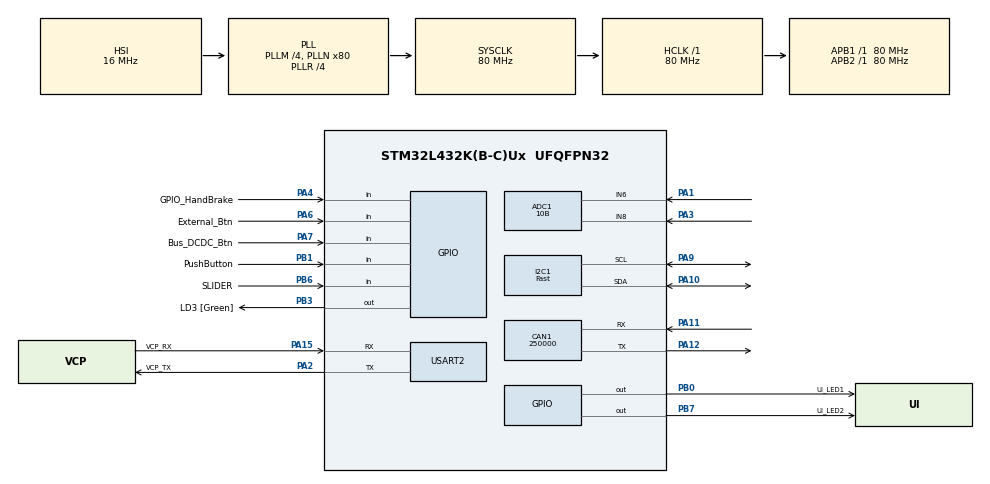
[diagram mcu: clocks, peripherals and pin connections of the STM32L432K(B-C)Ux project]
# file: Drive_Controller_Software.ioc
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ADC1.ClockPrescaler=ADC_CLOCK_ASYNC_DIV64
ADC1.ContinuousConvMode=DISABLE
ADC1.DiscontinuousConvMode=ENABLE
ADC1.EnableInjectedConversion=ENABLE
ADC1.EnableRegularConversion=DISABLE
ADC1.InjMonitoredBy-2\#ChannelInjectedConversion=__NULL
ADC1.InjMonitoredBy-3\#ChannelInjectedConversion=__NULL
ADC1.InjNumberOfConversion=2
ADC1.InjectedChannel-2\#ChannelInjectedConversion=ADC_CHANNEL_6
ADC1.InjectedChannel-3\#ChannelInjectedConversion=ADC_CHANNEL_8
ADC1.InjectedOffsetNumber-2\#ChannelInjectedConversion=ADC_OFFSET_NONE
ADC1.InjectedOffsetNumber-3\#ChannelInjectedConversion=ADC_OFFSET_NONE
ADC1.InjectedRank-2\#ChannelInjectedConversion=1
ADC1.InjectedRank-3\#ChannelInjectedConversion=2
ADC1.InjectedSamplingTime-2\#ChannelInjectedConversion=ADC_SAMPLETIME_2CYCLES_5
ADC1.InjectedSamplingTime-3\#ChannelInjectedConversion=ADC_SAMPLETIME_2CYCLES_5
ADC1.NbrOfDiscConversion=2
ADC1.Rank1_Channel=ADC_CHANNEL_6
ADC1.Rank2_Channel=ADC_CHANNEL_8
ADC1.Resolution=ADC_RESOLUTION_10B
ADC1.master=1
CAN1.BS1=CAN_BS1_11TQ
CAN1.BS2=CAN_BS2_8TQ
CAN1.CalculateBaudRate=250000
CAN1.CalculateTimeBit=4000
CAN1.CalculateTimeQuantum=200.0
Dma.ADC1.0.Direction=DMA_PERIPH_TO_MEMORY
Dma.ADC1.0.Instance=DMA1_Channel1
Dma.ADC1.0.MemDataAlignment=DMA_MDATAALIGN_HALFWORD
Dma.ADC1.0.MemInc=DMA_MINC_ENABLE
Dma.ADC1.0.Mode=DMA_CIRCULAR
Dma.ADC1.0.PeriphDataAlignment=DMA_PDATAALIGN_HALFWORD
Dma.ADC1.0.PeriphInc=DMA_PINC_DISABLE
Dma.ADC1.0.Priority=DMA_PRIORITY_LOW
Dma.Request0=ADC1
I2C1.I2C_Rise_Time=0
I2C1.I2C_Speed_Mode=I2C_Fast
I2C1.Timing=0x00712989
Mcu.Family=STM32L4
Mcu.Name=STM32L432K(B-C)Ux
Mcu.Package=UFQFPN32
NVIC.ADC1_IRQn=true\:2\:0\:true\:false\:true\:true\:true\:true
NVIC.CAN1_RX0_IRQn=true\:1\:0\:true\:false\:true\:true\:true\:true
NVIC.CAN1_RX1_IRQn=true\:1\:0\:true\:false\:true\:true\:true\:true
NVIC.CAN1_TX_IRQn=true\:1\:0\:true\:false\:true\:true\:true\:true
NVIC.DMA1_Channel1_IRQn=true\:0\:0\:false\:false\:true\:false\:true\:true
NVIC.PriorityGroup=NVIC_PRIORITYGROUP_4
NVIC.TIM2_IRQn=true\:1\:0\:true\:false\:true\:true\:true\:true
PA1.Signal=ADCx_IN6
PA10.Mode=I2C
PA10.Signal=I2C1_SDA
PA11.Mode=CAN_Activate
PA11.Signal=CAN1_RX
PA12.Mode=CAN_Activate
PA12.Signal=CAN1_TX
PA13\ (JTMS-SWDIO).GPIO_Label=SWDIO
PA13\ (JTMS-SWDIO).Mode=Serial_Wire
PA13\ (JTMS-SWDIO).Signal=SYS_JTMS-SWDIO
PA14\ (JTCK-SWCLK).GPIO_Label=SWCLK
PA14\ (JTCK-SWCLK).Mode=Serial_Wire
PA14\ (JTCK-SWCLK).Signal=SYS_JTCK-SWCLK
PA15\ (JTDI).GPIO_Label=VCP_RX
PA15\ (JTDI).Mode=Asynchronous
PA15\ (JTDI).Signal=USART2_RX
PA2.GPIO_Label=VCP_TX
PA2.Mode=Asynchronous
PA2.Signal=USART2_TX
PA3.Signal=ADCx_IN8
PA4.GPIO_Label=GPIO_HandBrake
PA4.GPIO_PuPd=GPIO_PULLUP
PA4.Signal=GPIO_Input
PA5.Signal=ADCx_IN10
PA6.GPIO_Label=External_Btn
PA6.Signal=GPIO_Input
PA7.GPIO_Label=Bus_DCDC_Btn
PA7.Signal=GPIO_Input
PA9.Mode=I2C
PA9.Signal=I2C1_SCL
PB0.GPIO_Label=UI_LED1
PB0.GPIO_ModeDefaultOutputPP=GPIO_MODE_OUTPUT_OD
PB0.GPIO_PuPd=GPIO_NOPULL
PB0.Signal=GPIO_Output
PB1.GPIO_Label=PushButton
PB1.Signal=GPIO_Input
PB3\ (JTDO-TRACESWO).GPIO_Label=LD3 [Green]
PB3\ (JTDO-TRACESWO).Signal=GPIO_Output
PB6.GPIO_Label=SLIDER
PB6.Signal=GPIO_Input
PB7.GPIO_Label=UI_LED2
PB7.GPIO_ModeDefaultOutputPP=GPIO_MODE_OUTPUT_OD
PB7.GPIO_PuPd=GPIO_NOPULL
PB7.Signal=GPIO_Output
PC14-OSC32_IN\ (PC14).Mode=LSE-External-Oscillator
PC14-OSC32_IN\ (PC14).Signal=RCC_OSC32_IN
PC15-OSC32_OUT\ (PC15).Mode=LSE-External-Oscillator
PC15-OSC32_OUT\ (PC15).Signal=RCC_OSC32_OUT
ProjectManager.HeapSize=0x200
ProjectManager.StackSize=0x400
ProjectManager.TargetToolchain=STM32CubeIDE
RCC.ADCFreq_Value=32000000
RCC.AHBFreq_Value=80000000
RCC.APB1Freq_Value=80000000
RCC.APB1TimFreq_Value=80000000
RCC.APB2Freq_Value=80000000
RCC.APB2TimFreq_Value=80000000
RCC.CortexFreq_Value=80000000
RCC.HCLKFreq_Value=80000000
RCC.HSE_VALUE=8000000
RCC.HSI16_VALUE=16000000
RCC.HSI48_VALUE=48000000
RCC.HSI_VALUE=16000000
RCC.I2C1CLockSelection=RCC_I2C1CLKSOURCE_SYSCLK
RCC.MSI_VALUE=4000000
RCC.PLLM=4
RCC.PLLMUL=RCC_PLLMUL_4
RCC.PLLN=80
RCC.PLLR=RCC_PLLR_DIV4
RCC.PLLSAI1N=16
RCC.PLLSourceVirtual=RCC_PLLSOURCE_HSI
RCC.SYSCLKFreq_VALUE=80000000
RCC.SYSCLKSource=RCC_SYSCLKSOURCE_PLLCLK
RCC.USBFreq_Value=32000000
RCC.VCOOutputFreq_Value=320000000
SH.ADCx_IN10.0=ADC1_IN10
SH.ADCx_IN6.0=ADC1_IN6,IN6-Single-Ended
SH.ADCx_IN8.0=ADC1_IN8,IN8-Single-Ended
TIM2.Period=999
TIM2.Prescaler=79
USART2.VirtualMode-Asynchronous=VM_ASYNC
VP_TIM2_VS_ClockSourceINT.Mode=Internal
board=NUCLEO-L432KC

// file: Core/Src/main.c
/* USER CODE BEGIN Header */
/**
  ******************************************************************************
  * @file           : main.c
  * @brief          : Main program body
  ******************************************************************************
  * @attention
  *
  * Copyright (c) 2026 STMicroelectronics.
  * All rights reserved.
  *
  * This software is licensed under terms that can be found in the LICENSE file
  * in the root directory of this software component.
  * If no LICENSE file comes with this software, it is provided AS-IS.
  *
  ******************************************************************************
  */
/* USER CODE END Header */
#include "main.h"

/* USER CODE BEGIN Includes */

#include "Project_Defines.h"
//#include "301/CO_ODinterface.h"

/* USER CODE END Includes */

ADC_HandleTypeDef hadc1;
DMA_HandleTypeDef hdma_adc1;

CAN_HandleTypeDef hcan1;

I2C_HandleTypeDef hi2c1;

TIM_HandleTypeDef htim2;

UART_HandleTypeDef huart2;

/* USER CODE BEGIN PV */

Car_ST Car_1;
bool switch_Nunchuck_Joystick = false;

uint32_t adc_ch6 = 0; // Channel 6 of the ADC
uint32_t adc_ch8 = 0; // Channel 8 of the ADC
bool lectureADC = false;
I2C_HandleTypeDef *phi2c1;

/* USER CODE END PV */

void SystemClock_Config(void);
static void MX_GPIO_Init(void);
static void MX_DMA_Init(void);
static void MX_USART2_UART_Init(void);
static void MX_ADC1_Init(void);
static void MX_CAN1_Init(void);
static void MX_TIM2_Init(void);
static void MX_I2C1_Init(void);
/* USER CODE BEGIN PFP */

void physicalSwitch(){

	//Lit et stock l'état du switch
	switch_Nunchuck_Joystick = HAL_GPIO_ReadPin(SLIDER_GPIO_Port, SLIDER_Pin);

	static bool old_switch_Nunchuck_Joystick = false;

	//Active ou désactive les modes joystick et nunchuck
	if (switch_Nunchuck_Joystick != old_switch_Nunchuck_Joystick){
		if (switch_Nunchuck_Joystick){

		} else {

		}
	}
	old_switch_Nunchuck_Joystick = switch_Nunchuck_Joystick;

}

void physicalButtonDCDC(){

	static bool old_buttonDCDC;
	static bool initialized = false;

	//Lit l'état du bouton
	Car_1.buttonDCDC = HAL_GPIO_ReadPin(Bus_DCDC_Btn_GPIO_Port, Bus_DCDC_Btn_Pin);

	//Securite pour que l'état du bouton soit mis en lisant la pin
    if (!initialized)
    {
    	old_buttonDCDC = Car_1.buttonDCDC;
        initialized = true;
        return;
    }

	//Envoie un 1 quand on appuie sur le bouton
	if (Car_1.buttonDCDC != old_buttonDCDC)
	{
	    OD_RAM.x2043_buttonDCDC = 1;
	    CO_TPDOsendRequest(&canOpenNodeSTM32.canOpenStack->TPDO[ID_BUTTON_DCDC]);
	}
	old_buttonDCDC = Car_1.buttonDCDC;

}

/* USER CODE END PFP */

/* USER CODE BEGIN 0 */
CANopenNodeSTM32 canOpenNodeSTM32;

// Utilisé pour stocker en flash
static ODR_t storeCallback(OD_stream_t *stream, const void *buf,OD_size_t count, OD_size_t *countWritten)
{
	if (stream->subIndex == 4) // save manufacturer defined parameters (subindex 4)
	{
		if(strncmp(buf,"save",4) == 0) // check if «save» string has been written (Byte0‐3)
		{
			FlashErase(1); // erase flash
			FlashWrite(0,0x1234567812345678); // signature

			FlashWrite(8,OD_PERSIST_COMM.x2040_thresholdMax); // save your parameters values
			FlashWrite(16,OD_PERSIST_COMM.x2041_thresholdCenter); // save your parameters values
			FlashWrite(24,OD_PERSIST_COMM.x2042_thresholdJoystick); // save your parameters values
		}
	}
}

static OD_extension_t my_extensionController;

void mapCallbacks(OD_t *od) {

	/* Find the OD entry for Index 0x1010 */
	OD_entry_t *entry = OD_find(od, 0x1010); // Find the OD entry for joystick value
	if (entry != NULL) {
		// Assign the custom write function (set read to NULL if not needed)
		my_extensionController.read = NULL;

		// utilisé pour écrire sur la flash
		my_extensionController.write = storeCallback;

		my_extensionController.object = NULL; // Can be used to store private data
		// Register the extension to the OD entry
		OD_extension_init(entry, &my_extensionController);
	}
}

void HAL_TIM_PeriodElapsedCallback(TIM_HandleTypeDef *htim)
{
	// you can check the good timer ... if(htim ...
	canopen_app_interrupt();
	XF_decrementAndQueueTimers();
}

void HAL_ADCEx_InjectedConvCpltCallback(ADC_HandleTypeDef* hadc){
	if(hadc->Instance == ADC1){
		adc_ch6 = HAL_ADCEx_InjectedGetValue(hadc, ADC_INJECTED_RANK_1);
		adc_ch8 = HAL_ADCEx_InjectedGetValue(hadc, ADC_INJECTED_RANK_2);
	}
}

/* USER CODE END 0 */

int main(void)
{

  /* MCU Configuration--------------------------------------------------------*/

  /* Reset of all peripherals, Initializes the Flash interface and the Systick. */
  HAL_Init();

  /* Configure the system clock */
  SystemClock_Config();

  /* Initialize all configured peripherals */
  MX_GPIO_Init();
  MX_DMA_Init();
  MX_USART2_UART_Init();
  MX_ADC1_Init();
  MX_CAN1_Init();
  MX_TIM2_Init();
  MX_I2C1_Init();
  /* USER CODE BEGIN 2 */

  XF_init();

  //read data entered from flash
    if(FlashRead(0) == 0x1234567812345678)
    {
  	  //if default values saved in flash, read flash (for now no values stored)
  	  OD_PERSIST_COMM.x2040_thresholdMax = FlashRead(8);
  	  OD_PERSIST_COMM.x2041_thresholdCenter = FlashRead(16);
  	  OD_PERSIST_COMM.x2042_thresholdJoystick = FlashRead(24);
    }
    else		//write in flash if no data saved
    {
  	  FlashErase(1); // erase flash
  	  FlashWrite(0,0x1234567812345678); // signature

  	  FlashWrite(8,OD_PERSIST_COMM.x2040_thresholdMax); // save your parameters values
  	  FlashWrite(16,OD_PERSIST_COMM.x2041_thresholdCenter); // save your parameters values
  	  FlashWrite(24,OD_PERSIST_COMM.x2042_thresholdJoystick); // save your parameters values

    }

  // 1. Map the CANopen instance to your hardware (hcan1 is usually defined by CubeMX)
  canOpenNodeSTM32.CANHandle = &hcan1;
  // 2. Set your hardware initialization function (defined in can.c)
  canOpenNodeSTM32.HWInitFunction = MX_CAN1_Init;
  // 3. Map the timer used for CANopen heartbeat and fast tasks (e.g., TIM2)
  canOpenNodeSTM32.timerHandle = &htim2;
  // 4. Configure Node‐ID (1‐127) and Baudrate (e.g., 125, 250, 500, 1000)
  canOpenNodeSTM32.desiredNodeID = 3;
  canOpenNodeSTM32.baudrate = 250;
  // 5. Initialize the application
  mapCallbacks(OD);
  canopen_app_init(&canOpenNodeSTM32);

  //Initialise les machines d'état
  XF_post(steeringProcess, E_INIT_STEERING, 6000);
  XF_post(driveProcess, E_INIT_DRIVE, 6000);
  HAL_TIM_Base_Start_IT(&htim2);

  //Affectation du pointer sur l'adresse de l'i2c pour avoir accès depuis tout les fichiers
  phi2c1 = &hi2c1;

  /* USER CODE END 2 */

  /* Infinite loop */
  /* USER CODE BEGIN WHILE */
  while (1)
  {
	  canopen_app_process();

    /* USER CODE END WHILE */

    /* USER CODE BEGIN 3 */

	  XF_executeOnce();

	  Car_1.handBreakSwitch = HAL_GPIO_ReadPin(GPIO_HandBrake_GPIO_Port, GPIO_HandBrake_Pin);

	  //physicalSwitch();
	  physicalButtonDCDC();

	  Car_1.tension_busDCDC = OD_RAM.x2044_bus_voltage;

	  if(lectureADC){
		  HAL_ADCEx_InjectedStart_IT(&hadc1);
		  lectureADC = false;
	  }

	  //conversion

  }
  /* USER CODE END 3 */
}

void SystemClock_Config(void)
{
  RCC_OscInitTypeDef RCC_OscInitStruct = {0};
  RCC_ClkInitTypeDef RCC_ClkInitStruct = {0};

  /** Configure the main internal regulator output voltage
  */
  if (HAL_PWREx_ControlVoltageScaling(PWR_REGULATOR_VOLTAGE_SCALE1) != HAL_OK)
  {
    Error_Handler();
  }

  /** Initializes the RCC Oscillators according to the specified parameters
  * in the RCC_OscInitTypeDef structure.
  */
  RCC_OscInitStruct.OscillatorType = RCC_OSCILLATORTYPE_HSI;
  RCC_OscInitStruct.HSIState = RCC_HSI_ON;
  RCC_OscInitStruct.HSICalibrationValue = RCC_HSICALIBRATION_DEFAULT;
  RCC_OscInitStruct.PLL.PLLState = RCC_PLL_ON;
  RCC_OscInitStruct.PLL.PLLSource = RCC_PLLSOURCE_HSI;
  RCC_OscInitStruct.PLL.PLLM = 4;
  RCC_OscInitStruct.PLL.PLLN = 80;
  RCC_OscInitStruct.PLL.PLLP = RCC_PLLP_DIV7;
  RCC_OscInitStruct.PLL.PLLQ = RCC_PLLQ_DIV2;
  RCC_OscInitStruct.PLL.PLLR = RCC_PLLR_DIV4;
  if (HAL_RCC_OscConfig(&RCC_OscInitStruct) != HAL_OK)
  {
    Error_Handler();
  }

  /** Initializes the CPU, AHB and APB buses clocks
  */
  RCC_ClkInitStruct.ClockType = RCC_CLOCKTYPE_HCLK|RCC_CLOCKTYPE_SYSCLK
                              |RCC_CLOCKTYPE_PCLK1|RCC_CLOCKTYPE_PCLK2;
  RCC_ClkInitStruct.SYSCLKSource = RCC_SYSCLKSOURCE_PLLCLK;
  RCC_ClkInitStruct.AHBCLKDivider = RCC_SYSCLK_DIV1;
  RCC_ClkInitStruct.APB1CLKDivider = RCC_HCLK_DIV1;
  RCC_ClkInitStruct.APB2CLKDivider = RCC_HCLK_DIV1;

  if (HAL_RCC_ClockConfig(&RCC_ClkInitStruct, FLASH_LATENCY_4) != HAL_OK)
  {
    Error_Handler();
  }
}

static void MX_ADC1_Init(void)
{

  ADC_InjectionConfTypeDef sConfigInjected = {0};

  /** Common config
  */
  hadc1.Instance = ADC1;
  hadc1.Init.ClockPrescaler = ADC_CLOCK_ASYNC_DIV64;
  hadc1.Init.Resolution = ADC_RESOLUTION_10B;
  hadc1.Init.DataAlign = ADC_DATAALIGN_RIGHT;
  hadc1.Init.ScanConvMode = ADC_SCAN_ENABLE;
  hadc1.Init.EOCSelection = ADC_EOC_SINGLE_CONV;
  hadc1.Init.LowPowerAutoWait = DISABLE;
  hadc1.Init.ContinuousConvMode = DISABLE;
  hadc1.Init.NbrOfConversion = 1;
  hadc1.Init.DiscontinuousConvMode = ENABLE;
  hadc1.Init.NbrOfDiscConversion = 2;
  hadc1.Init.DMAContinuousRequests = DISABLE;
  hadc1.Init.Overrun = ADC_OVR_DATA_PRESERVED;
  hadc1.Init.OversamplingMode = DISABLE;
  if (HAL_ADC_Init(&hadc1) != HAL_OK)
  {
    Error_Handler();
  }

  /** Disable Injected Queue
  */
  HAL_ADCEx_DisableInjectedQueue(&hadc1);

  /** Configure Injected Channel
  */
  sConfigInjected.InjectedChannel = ADC_CHANNEL_6;
  sConfigInjected.InjectedRank = ADC_INJECTED_RANK_1;
  sConfigInjected.InjectedSamplingTime = ADC_SAMPLETIME_2CYCLES_5;
  sConfigInjected.InjectedSingleDiff = ADC_SINGLE_ENDED;
  sConfigInjected.InjectedOffsetNumber = ADC_OFFSET_NONE;
  sConfigInjected.InjectedOffset = 0;
  sConfigInjected.InjectedNbrOfConversion = 2;
  sConfigInjected.InjectedDiscontinuousConvMode = DISABLE;
  sConfigInjected.AutoInjectedConv = DISABLE;
  sConfigInjected.QueueInjectedContext = DISABLE;
  sConfigInjected.ExternalTrigInjecConv = ADC_INJECTED_SOFTWARE_START;
  sConfigInjected.ExternalTrigInjecConvEdge = ADC_EXTERNALTRIGINJECCONV_EDGE_NONE;
  sConfigInjected.InjecOversamplingMode = DISABLE;
  if (HAL_ADCEx_InjectedConfigChannel(&hadc1, &sConfigInjected) != HAL_OK)
  {
    Error_Handler();
  }

  /** Configure Injected Channel
  */
  sConfigInjected.InjectedChannel = ADC_CHANNEL_8;
  sConfigInjected.InjectedRank = ADC_INJECTED_RANK_2;
  if (HAL_ADCEx_InjectedConfigChannel(&hadc1, &sConfigInjected) != HAL_OK)
  {
    Error_Handler();
  }

}

static void MX_CAN1_Init(void)
{

  hcan1.Instance = CAN1;
  hcan1.Init.Prescaler = 16;
  hcan1.Init.Mode = CAN_MODE_NORMAL;
  hcan1.Init.SyncJumpWidth = CAN_SJW_1TQ;
  hcan1.Init.TimeSeg1 = CAN_BS1_11TQ;
  hcan1.Init.TimeSeg2 = CAN_BS2_8TQ;
  hcan1.Init.TimeTriggeredMode = DISABLE;
  hcan1.Init.AutoBusOff = DISABLE;
  hcan1.Init.AutoWakeUp = DISABLE;
  hcan1.Init.AutoRetransmission = DISABLE;
  hcan1.Init.ReceiveFifoLocked = DISABLE;
  hcan1.Init.TransmitFifoPriority = DISABLE;
  if (HAL_CAN_Init(&hcan1) != HAL_OK)
  {
    Error_Handler();
  }

}

static void MX_I2C1_Init(void)
{

  hi2c1.Instance = I2C1;
  hi2c1.Init.Timing = 0x00712989;
  hi2c1.Init.OwnAddress1 = 0;
  hi2c1.Init.AddressingMode = I2C_ADDRESSINGMODE_7BIT;
  hi2c1.Init.DualAddressMode = I2C_DUALADDRESS_DISABLE;
  hi2c1.Init.OwnAddress2 = 0;
  hi2c1.Init.OwnAddress2Masks = I2C_OA2_NOMASK;
  hi2c1.Init.GeneralCallMode = I2C_GENERALCALL_DISABLE;
  hi2c1.Init.NoStretchMode = I2C_NOSTRETCH_DISABLE;
  if (HAL_I2C_Init(&hi2c1) != HAL_OK)
  {
    Error_Handler();
  }

  /** Configure Analogue filter
  */
  if (HAL_I2CEx_ConfigAnalogFilter(&hi2c1, I2C_ANALOGFILTER_ENABLE) != HAL_OK)
  {
    Error_Handler();
  }

  /** Configure Digital filter
  */
  if (HAL_I2CEx_ConfigDigitalFilter(&hi2c1, 0) != HAL_OK)
  {
    Error_Handler();
  }

}

static void MX_TIM2_Init(void)
{

  TIM_ClockConfigTypeDef sClockSourceConfig = {0};
  TIM_MasterConfigTypeDef sMasterConfig = {0};

  htim2.Instance = TIM2;
  htim2.Init.Prescaler = 79;
  htim2.Init.CounterMode = TIM_COUNTERMODE_UP;
  htim2.Init.Period = 999;
  htim2.Init.ClockDivision = TIM_CLOCKDIVISION_DIV1;
  htim2.Init.AutoReloadPreload = TIM_AUTORELOAD_PRELOAD_DISABLE;
  if (HAL_TIM_Base_Init(&htim2) != HAL_OK)
  {
    Error_Handler();
  }
  sClockSourceConfig.ClockSource = TIM_CLOCKSOURCE_INTERNAL;
  if (HAL_TIM_ConfigClockSource(&htim2, &sClockSourceConfig) != HAL_OK)
  {
    Error_Handler();
  }
  sMasterConfig.MasterOutputTrigger = TIM_TRGO_RESET;
  sMasterConfig.MasterSlaveMode = TIM_MASTERSLAVEMODE_DISABLE;
  if (HAL_TIMEx_MasterConfigSynchronization(&htim2, &sMasterConfig) != HAL_OK)
  {
    Error_Handler();
  }

}

static void MX_USART2_UART_Init(void)
{

  huart2.Instance = USART2;
  huart2.Init.BaudRate = 115200;
  huart2.Init.WordLength = UART_WORDLENGTH_8B;
  huart2.Init.StopBits = UART_STOPBITS_1;
  huart2.Init.Parity = UART_PARITY_NONE;
  huart2.Init.Mode = UART_MODE_TX_RX;
  huart2.Init.HwFlowCtl = UART_HWCONTROL_NONE;
  huart2.Init.OverSampling = UART_OVERSAMPLING_16;
  huart2.Init.OneBitSampling = UART_ONE_BIT_SAMPLE_DISABLE;
  huart2.AdvancedInit.AdvFeatureInit = UART_ADVFEATURE_NO_INIT;
  if (HAL_UART_Init(&huart2) != HAL_OK)
  {
    Error_Handler();
  }

}

static void MX_DMA_Init(void)
{

  /* DMA controller clock enable */
  __HAL_RCC_DMA1_CLK_ENABLE();

  /* DMA interrupt init */
  /* DMA1_Channel1_IRQn interrupt configuration */
  HAL_NVIC_SetPriority(DMA1_Channel1_IRQn, 0, 0);
  HAL_NVIC_EnableIRQ(DMA1_Channel1_IRQn);

}

static void MX_GPIO_Init(void)
{
  GPIO_InitTypeDef GPIO_InitStruct = {0};

  /* GPIO Ports Clock Enable */
  __HAL_RCC_GPIOC_CLK_ENABLE();
  __HAL_RCC_GPIOA_CLK_ENABLE();
  __HAL_RCC_GPIOB_CLK_ENABLE();

  /*Configure GPIO pin Output Level */
  HAL_GPIO_WritePin(GPIOB, UI_LED1_Pin|LD3_Pin|UI_LED2_Pin, GPIO_PIN_RESET);

  /*Configure GPIO pin : GPIO_HandBrake_Pin */
  GPIO_InitStruct.Pin = GPIO_HandBrake_Pin;
  GPIO_InitStruct.Mode = GPIO_MODE_INPUT;
  GPIO_InitStruct.Pull = GPIO_PULLUP;
  HAL_GPIO_Init(GPIO_HandBrake_GPIO_Port, &GPIO_InitStruct);

  /*Configure GPIO pins : External_Btn_Pin Bus_DCDC_Btn_Pin */
  GPIO_InitStruct.Pin = External_Btn_Pin|Bus_DCDC_Btn_Pin;
  GPIO_InitStruct.Mode = GPIO_MODE_INPUT;
  GPIO_InitStruct.Pull = GPIO_NOPULL;
  HAL_GPIO_Init(GPIOA, &GPIO_InitStruct);

  /*Configure GPIO pins : UI_LED1_Pin UI_LED2_Pin */
  GPIO_InitStruct.Pin = UI_LED1_Pin|UI_LED2_Pin;
  GPIO_InitStruct.Mode = GPIO_MODE_OUTPUT_OD;
  GPIO_InitStruct.Pull = GPIO_NOPULL;
  GPIO_InitStruct.Speed = GPIO_SPEED_FREQ_LOW;
  HAL_GPIO_Init(GPIOB, &GPIO_InitStruct);

  /*Configure GPIO pins : PushButton_Pin SLIDER_Pin */
  GPIO_InitStruct.Pin = PushButton_Pin|SLIDER_Pin;
  GPIO_InitStruct.Mode = GPIO_MODE_INPUT;
  GPIO_InitStruct.Pull = GPIO_NOPULL;
  HAL_GPIO_Init(GPIOB, &GPIO_InitStruct);

  /*Configure GPIO pin : LD3_Pin */
  GPIO_InitStruct.Pin = LD3_Pin;
  GPIO_InitStruct.Mode = GPIO_MODE_OUTPUT_PP;
  GPIO_InitStruct.Pull = GPIO_NOPULL;
  GPIO_InitStruct.Speed = GPIO_SPEED_FREQ_LOW;
  HAL_GPIO_Init(LD3_GPIO_Port, &GPIO_InitStruct);

}

void Error_Handler(void)
{
  __disable_irq();
  while (1)
  {
  }
}
